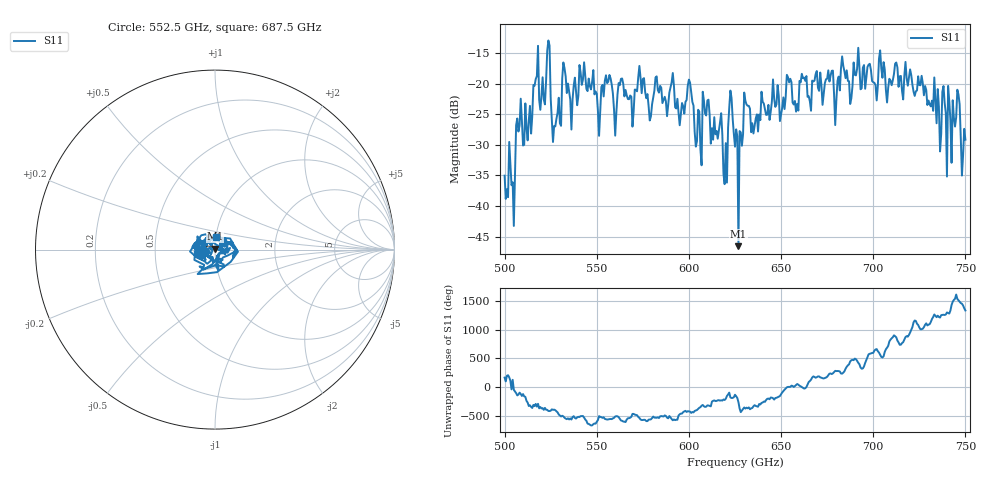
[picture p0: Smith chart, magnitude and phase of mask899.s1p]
!Created with skrf (http://scikit-rf.org).
# GHz S MA R 50.0
!freq magS11 angS11
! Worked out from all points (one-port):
!   401 points, 500 GHz to 750 GHz, reference 50 ohm
!   lowest |S11| = -46.6 dB at 626.9 GHz (marker M1), VSWR 1.01, Z = 49.9 + j0.466 ohm
!   |S11| at or under -10 dB: start of sweep to end of sweep
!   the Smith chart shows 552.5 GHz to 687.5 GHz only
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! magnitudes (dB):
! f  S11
! 500 GHz  -35.0
! 504.4 GHz  -36.1
! 507.5 GHz  -27.8
! 513.8 GHz  -23.6
! 516.9 GHz  -19.3
! 520.6 GHz  -19.0
! 523.8 GHz  -12.9
! 526.9 GHz  -26.9
! 531.2 GHz  -19.2
! 556.2 GHz  -19.7
! 560 GHz  -28.5
! 562.5 GHz  -20.3
! 593.8 GHz  -22.5
! 600.6 GHz  -19.9
! 605.6 GHz  -24.6
! 608.8 GHz  -24.9
! 619.4 GHz  -36.4
! 622.5 GHz  -21.1
! 625 GHz  -30.3
! 626.9 GHz  -46.6
! 631.2 GHz  -23.4
! 635 GHz  -28.1
! 656.2 GHz  -23.1
! 687.5 GHz  -23.3
! 718.8 GHz  -20.3
! 741.2 GHz  -22.9
! 745.6 GHz  -21.0
! 750 GHz  -29.2
